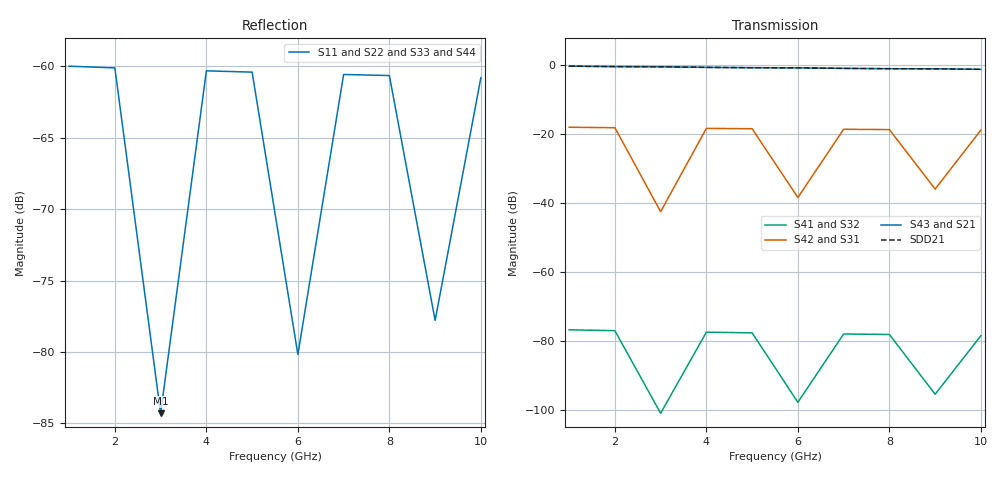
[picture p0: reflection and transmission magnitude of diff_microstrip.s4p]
! 4-Port Coupled Differential Microstrip Pair (100 Ohm Diff, 50mm FR4)
! Ports: 1=In+, 2=Out+, 3=In-, 4=Out-
[Version] 2.0
# GHz S MA R 50
[Number of Ports] 4
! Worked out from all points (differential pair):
!   10 points, 1 GHz to 10 GHz, reference 50 ohm
!   strongest paths, dB at 1 GHz, 3 GHz, 6 GHz, 8 GHz, 10 GHz:
!     S43: -0.3, -0.5, -0.8, -1.0, -1.2
!     S21: -0.3, -0.5, -0.8, -1.0, -1.2
!     S42: -18.0, -42.5, -38.4, -18.7, -18.8
!     S31: -18.0, -42.5, -38.4, -18.7, -18.8
!     S41: -76.7, -100.9, -97.7, -78.1, -78.4
!     S32: -76.7, -100.9, -97.7, -78.1, -78.4
!   taken as a pair (ports 3,1 in; 4,2 out), SDD21 dB: -0.3, -0.5, -0.8, -1.0, -1.2
!   lowest |S11| = -84.3 dB at 3 GHz (marker M1), VSWR 1.00, Z = 50 + j7.47e-19 ohm
!   |S11| at or under -10 dB: start of sweep to end of sweep
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[Number of Frequencies] 7
[Network Data]
1  0.001002 151.6  0.9673 -119.7  0.1259 -28.9  0.000146 -148.6
   0.9673 -119.7  0.001002 151.6  0.000146 -148.6  0.1259 -28.9
   0.1259 -28.9  0.000146 -148.6  0.001002 151.6  0.9673 -119.7
   0.000146 -148.6  0.1259 -28.9  0.9673 -119.7  0.001002 151.6
2  0.000988 -152.1  0.9532 119.7  0.1241 28.4  0.000142 148.2
   0.9532 119.7  0.000988 -152.1  0.000142 148.2  0.1241 28.4
   0.1241 28.4  0.000142 148.2  0.000988 -152.1  0.9532 119.7
   0.000142 148.2  0.1241 28.4  0.9532 119.7  0.000988 -152.1
3  6.1e-05 180.0  0.948 0.0  0.007522 -0.0  9e-06 -0.0
   0.948 0.0  6.1e-05 180.0  9e-06 -0.0  0.007522 -0.0
   0.007522 -0.0  9e-06 -0.0  6.1e-05 180.0  0.948 0.0
   9e-06 -0.0  0.007522 -0.0  0.948 0.0  6.1e-05 180.0
7  0.000937 153.9  0.8988 -119.8  0.1177 -26.5  0.000127 -146.3
   0.8988 -119.8  0.000937 153.9  0.000127 -146.3  0.1177 -26.5
   0.1177 -26.5  0.000127 -146.3  0.000937 153.9  0.8988 -119.8
   0.000127 -146.3  0.1177 -26.5  0.8988 -119.8  0.000937 153.9
8  0.000929 -154.3  0.8893 119.8  0.1166 26.2  0.000125 146.0
   0.8893 119.8  0.000929 -154.3  0.000125 146.0  0.1166 26.2
   0.1166 26.2  0.000125 146.0  0.000929 -154.3  0.8893 119.8
   0.000125 146.0  0.1166 26.2  0.8893 119.8  0.000929 -154.3
9  0.000129 -180.0  0.8859 -0.0  0.016 0.0  1.7e-05 0.0
   0.8859 -0.0  0.000129 -180.0  1.7e-05 0.0  0.016 0.0
   0.016 0.0  1.7e-05 0.0  0.000129 -180.0  0.8859 -0.0
   1.7e-05 0.0  0.016 0.0  0.8859 -0.0  0.000129 -180.0
10  0.000913 154.9  0.871 -119.8  0.1146 -25.5  0.00012 -145.3
    0.871 -119.8  0.000913 154.9  0.00012 -145.3  0.1146 -25.5
    0.1146 -25.5  0.00012 -145.3  0.000913 154.9  0.871 -119.8
    0.00012 -145.3  0.1146 -25.5  0.871 -119.8  0.000913 154.9
[End]
